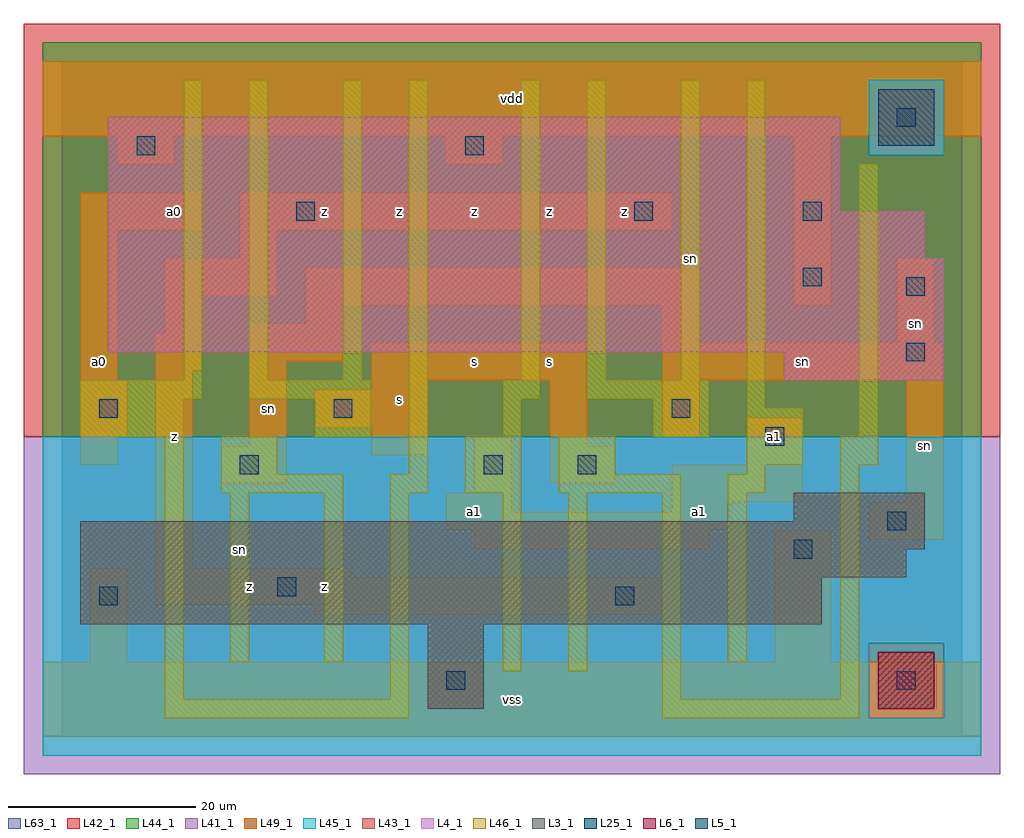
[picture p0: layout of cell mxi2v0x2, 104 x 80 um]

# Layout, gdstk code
import gdstk
lib = gdstk.Library(unit=1e-6, precision=1e-09)
def R(c, l, rs):  # rectangles x0, y0, x1, y1
    for r in rs: c.add(gdstk.rectangle(r[:2], r[2:], *l))
L3_1 = (3, 1)
L4_1 = (4, 1)
L5_1 = (5, 1)
L6_1 = (6, 1)
L25_1 = (25, 1)
L41_1 = (41, 1)
L42_1 = (42, 1)
L43_1 = (43, 1)
L44_1 = (44, 1)
L45_1 = (45, 1)
L46_1 = (46, 1)
L49_1 = (49, 1)
L63_1 = (63, 1)

mxi2v0x2 = lib.new_cell('mxi2v0x2')
R(mxi2v0x2, L3_1, [(39,3,45,12), (2,12,81,17), (2,17,90,20), (2,20,92,23), (78,23,92,26)])
R(mxi2v0x2, L4_1, [(77,38,94,41), (5,41,94,51), (5,51,92,56), (5,56,83,66)])
R(mxi2v0x2, L5_1, [(87,63,93,69)])
R(mxi2v0x2, L6_1, [(87,3,93,9), (87,3,93,9)])
R(mxi2v0x2, L25_1, [(41,5,43,7), (89,5,91,7), (4,14,6,16), (59,14,61,16), (23,15,25,17), (78,19,80,21), (88,22,90,24), (19,28,21,30), (45,28,47,30), (55,28,57,30), (75,31,77,33), (4,34,6,36), (29,34,31,36), (65,34,67,36), (90,40,92,42), (90,47,92,49), (79,48,81,50), (25,55,27,57), (61,55,63,57), (79,55,81,57), (8,62,10,64), (43,62,45,64), (89,65,91,67)])
R(mxi2v0x2, L41_1, [(-4,-4,100,32)])
R(mxi2v0x2, L42_1, [(-4,32,100,76)])
R(mxi2v0x2, L43_1, [(39,3,45,12), (87,3,93,9), (2,12,81,17), (2,17,90,20), (2,20,92,23), (78,23,92,26), (77,38,94,41), (5,41,94,51), (5,51,92,56), (5,56,83,66), (87,63,93,69)])
R(mxi2v0x2, L44_1, [(86,2,94,10), (-2,32,98,62), (-2,62,86,70), (94,62,98,70), (-2,70,98,74)])
R(mxi2v0x2, L45_1, [(-2,-2,98,2), (-2,2,86,10), (94,2,98,10), (-2,10,98,32), (86,62,94,70)])
R(mxi2v0x2, L46_1, [(11,2,37,4), (64,2,85,4), (11,4,13,32), (35,4,37,26), (64,4,66,26), (83,4,85,29), (47,7,49,26), (54,7,56,26), (18,8,20,26), (28,8,30,26), (71,8,73,26), (17,26,30,28), (35,26,39,28), (43,26,49,32), (53,26,66,28), (71,26,75,28), (17,28,23,32), (37,28,39,70), (53,28,59,32), (73,28,75,29), (73,29,79,35), (83,29,87,32), (2,32,13,36), (27,32,33,36), (47,32,49,36), (63,32,69,36), (85,32,87,61), (73,35,75,70), (2,36,15,38), (20,36,33,38), (47,36,51,38), (56,36,69,38), (13,38,15,70), (20,38,22,70), (30,38,32,70), (49,38,51,70), (56,38,58,70), (66,38,68,70)])
R(mxi2v0x2, L49_1, [(-2,0,98,8), (3,8,7,18), (76,8,82,22), (27,13,64,14), (10,14,64,17), (10,17,31,18), (10,18,14,39), (44,20,69,22), (86,21,94,25), (41,22,71,24), (41,24,48,26), (65,24,71,25), (65,25,79,29), (90,25,94,38), (44,26,48,32), (17,27,24,31), (52,27,59,31), (2,29,6,32), (73,29,79,34), (33,30,39,33), (20,31,24,40), (52,31,56,38), (2,32,7,38), (64,32,68,38), (27,33,39,37), (33,37,39,38), (2,38,6,54), (33,38,56,42), (64,38,94,42), (10,39,15,43), (20,40,30,44), (64,42,68,46), (89,42,93,51), (11,43,15,47), (26,44,30,46), (26,46,68,50), (78,46,82,64), (11,47,23,51), (19,51,23,54), (2,54,15,58), (19,54,65,58), (6,61,12,64), (41,61,47,64), (-2,64,98,72)])
R(mxi2v0x2, L63_1, [(0,0,96,72)])
mxi2v0x2.add(gdstk.Label('sn', (19,20), layer=46, texttype=1))
mxi2v0x2.add(gdstk.Label('sn', (67,51), layer=46, texttype=1))
mxi2v0x2.add(gdstk.Label('z', (12,32), layer=49, texttype=1))
mxi2v0x2.add(gdstk.Label('a0', (4,40), layer=49, texttype=1))
mxi2v0x2.add(gdstk.Label('a0', (12,56), layer=49, texttype=1))
mxi2v0x2.add(gdstk.Label('z', (28,16), layer=49, texttype=1))
mxi2v0x2.add(gdstk.Label('z', (20,16), layer=49, texttype=1))
mxi2v0x2.add(gdstk.Label('sn', (22,35), layer=49, texttype=1))
mxi2v0x2.add(gdstk.Label('z', (28,56), layer=49, texttype=1))
mxi2v0x2.add(gdstk.Label('vss', (48,4), layer=49, texttype=1))
mxi2v0x2.add(gdstk.Label('a1', (44,24), layer=49, texttype=1))
mxi2v0x2.add(gdstk.Label('s', (36,36), layer=49, texttype=1))
mxi2v0x2.add(gdstk.Label('s', (52,40), layer=49, texttype=1))
mxi2v0x2.add(gdstk.Label('s', (44,40), layer=49, texttype=1))
mxi2v0x2.add(gdstk.Label('z', (52,56), layer=49, texttype=1))
mxi2v0x2.add(gdstk.Label('z', (44,56), layer=49, texttype=1))
mxi2v0x2.add(gdstk.Label('z', (36,56), layer=49, texttype=1))
mxi2v0x2.add(gdstk.Label('vdd', (48,68), layer=49, texttype=1))
mxi2v0x2.add(gdstk.Label('a1', (68,24), layer=49, texttype=1))
mxi2v0x2.add(gdstk.Label('a1', (76,32), layer=49, texttype=1))
mxi2v0x2.add(gdstk.Label('z', (60,56), layer=49, texttype=1))
mxi2v0x2.add(gdstk.Label('sn', (92,31), layer=49, texttype=1))
mxi2v0x2.add(gdstk.Label('sn', (79,40), layer=49, texttype=1))
mxi2v0x2.add(gdstk.Label('sn', (91,44), layer=49, texttype=1))

lib.write_gds('mxi2v0x2.gds')
